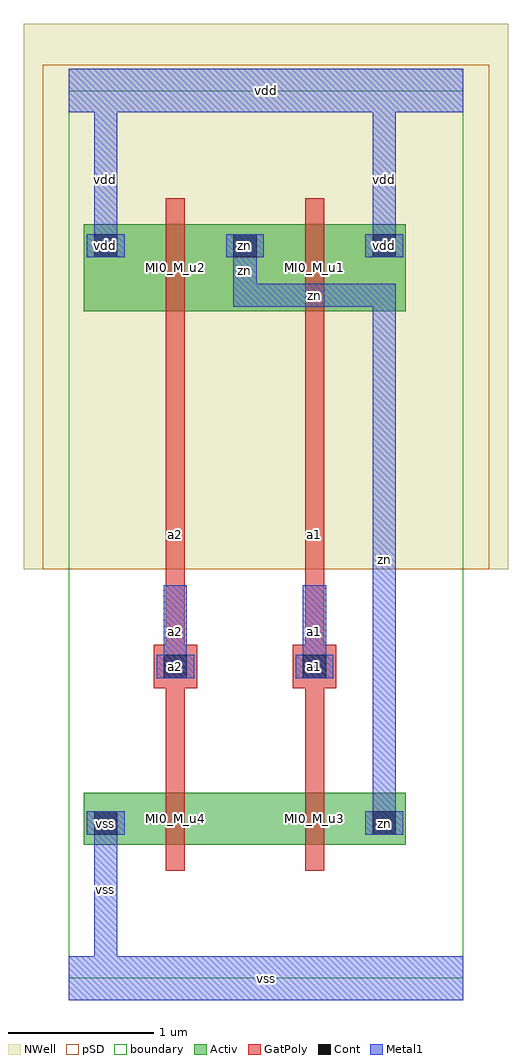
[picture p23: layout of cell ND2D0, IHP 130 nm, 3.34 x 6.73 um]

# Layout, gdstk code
import gdstk
lib = gdstk.Library(unit=1e-6, precision=1e-09)
def R(c, l, rs):  # rectangles x0, y0, x1, y1
    for r in rs: c.add(gdstk.rectangle(r[:2], r[2:], *l))
def A(c, l, x, y, w, h, nx, ny, dx, dy):  # array of equal rectangles
    R(c, l, [(x+i*dx, y+j*dy, x+i*dx+w, y+j*dy+h) for i in range(nx) for j in range(ny)])
Activ = (1, 0)
GatPoly = (5, 0)
Cont = (6, 0)
Metal1 = (8, 0)
pSD = (14, 0)
NWell = (31, 0)
TEXT = (63, 0)
boundary = (189, 4)

nd2d0 = lib.new_cell('ND2D0')
A(nd2d0, Activ, 0.105, 4.9, 0.3, 0.3, 3, 1, 0.96, 0)
R(nd2d0, Activ, [(0.105,0.92,1.365,1.28), (0.105,0.92,0.405,1.22), (1.065,0.92,2.325,1.28), (2.025,0.92,2.325,1.22), (0.105,4.6,1.365,5.2), (1.065,4.6,2.325,5.2)])
R(nd2d0, GatPoly, [(0.67,0.74,0.8,1.46), (1.63,0.74,1.76,1.46), (0.67,1.005,0.8,5.115), (1.63,1.005,1.76,5.115), (0.585,2,0.885,2.3), (1.545,2,1.845,2.3), (0.67,4.42,0.8,5.38), (1.63,4.42,1.76,5.38)])
A(nd2d0, Cont, 0.175, 4.97, 0.16, 0.16, 3, 1, 0.96, 0)
R(nd2d0, Cont, [(0.175,0.99,0.335,1.15), (2.095,0.99,2.255,1.15), (0.655,2.07,0.815,2.23), (1.615,2.07,1.775,2.23)])
A(nd2d0, Metal1, 0.125, 4.97, 0.26, 0.16, 3, 1, 0.96, 0)
R(nd2d0, Metal1, [(0,-0.15,2.72,0.15), (0.175,0.07,0.335,1.15), (0.125,0.99,0.385,1.15), (2.045,0.99,2.305,1.15), (2.095,0.99,2.255,4.79), (0.605,2.07,0.865,2.23), (0.655,2.07,0.815,2.71), (1.565,2.07,1.825,2.23), (1.615,2.07,1.775,2.71), (1.135,4.63,2.255,4.79), (1.135,4.63,1.295,5.13), (0.175,4.97,0.335,6.05), (2.095,4.97,2.255,6.05), (0,5.97,2.72,6.27)])
R(nd2d0, pSD, [(-0.18,2.82,2.9,5.94), (-0.18,5.94,2.9,6.3)])
R(nd2d0, NWell, [(-0.31,2.82,3.03,6.58)])
R(nd2d0, boundary, [(0,0,2.72,6.12)])
nd2d0.add(gdstk.FlexPath([(0.105,0.41),(2.325,0.41)], 0, ends="flush", simple_path=True, layer=63, datatype=0))  # TEXT
nd2d0.add(gdstk.FlexPath([(0.105,1.07),(2.325,1.07)], 0, ends="flush", simple_path=True, layer=63, datatype=0))  # TEXT
nd2d0.add(gdstk.FlexPath([(0.105,1.49),(2.325,1.49)], 0, ends="flush", simple_path=True, layer=63, datatype=0))  # TEXT
nd2d0.add(gdstk.FlexPath([(0.105,2.15),(2.325,2.15)], 0, ends="flush", simple_path=True, layer=63, datatype=0))  # TEXT
nd2d0.add(gdstk.FlexPath([(0.105,2.63),(2.325,2.63)], 0, ends="flush", simple_path=True, layer=63, datatype=0))  # TEXT
nd2d0.add(gdstk.FlexPath([(0.105,3.11),(2.325,3.11)], 0, ends="flush", simple_path=True, layer=63, datatype=0))  # TEXT
nd2d0.add(gdstk.FlexPath([(0.105,4.15),(2.325,4.15)], 0, ends="flush", simple_path=True, layer=63, datatype=0))  # TEXT
nd2d0.add(gdstk.FlexPath([(0.105,4.71),(2.325,4.71)], 0, ends="flush", simple_path=True, layer=63, datatype=0))  # TEXT
nd2d0.add(gdstk.FlexPath([(0.105,5.05),(2.325,5.05)], 0, ends="flush", simple_path=True, layer=63, datatype=0))  # TEXT
nd2d0.add(gdstk.FlexPath([(0.105,5.71),(2.325,5.71)], 0, ends="flush", simple_path=True, layer=63, datatype=0))  # TEXT
nd2d0.add(gdstk.FlexPath([(0.255,0.07),(0.255,6.05)], 0, ends="flush", simple_path=True, layer=63, datatype=0))  # TEXT
nd2d0.add(gdstk.FlexPath([(0.735,0.07),(0.735,6.05)], 0, ends="flush", simple_path=True, layer=63, datatype=0))  # TEXT
nd2d0.add(gdstk.FlexPath([(1.215,0.07),(1.215,6.05)], 0, ends="flush", simple_path=True, layer=63, datatype=0))  # TEXT
nd2d0.add(gdstk.FlexPath([(1.695,0.07),(1.695,6.05)], 0, ends="flush", simple_path=True, layer=63, datatype=0))  # TEXT
nd2d0.add(gdstk.FlexPath([(2.175,0.07),(2.175,6.05)], 0, ends="flush", simple_path=True, layer=63, datatype=0))  # TEXT
nd2d0.add(gdstk.Label('zn', (2.175,1.07), layer=6, texttype=0))
nd2d0.add(gdstk.Label('zn', (1.215,5.05), layer=6, texttype=0))
nd2d0.add(gdstk.Label('a1', (1.695,2.15), layer=6, texttype=0))
nd2d0.add(gdstk.Label('a2', (0.735,2.15), layer=6, texttype=0))
nd2d0.add(gdstk.Label('vss', (0.255,1.07), layer=6, texttype=0))
nd2d0.add(gdstk.Label('vdd', (0.255,5.05), layer=6, texttype=0))
nd2d0.add(gdstk.Label('vdd', (2.175,5.05), layer=6, texttype=0))
nd2d0.add(gdstk.Label('vss', (0.255,1.07), layer=8, texttype=0))
nd2d0.add(gdstk.Label('vss', (0.255,0.61), layer=8, texttype=0))
nd2d0.add(gdstk.Label('vdd', (0.255,5.05), layer=8, texttype=0))
nd2d0.add(gdstk.Label('vdd', (0.255,5.51), layer=8, texttype=0))
nd2d0.add(gdstk.Label('vdd', (2.175,5.05), layer=8, texttype=0))
nd2d0.add(gdstk.Label('vdd', (2.175,5.51), layer=8, texttype=0))
nd2d0.add(gdstk.Label('zn', (2.175,1.07), layer=8, texttype=2))
nd2d0.add(gdstk.Label('zn', (1.215,5.05), layer=8, texttype=2))
nd2d0.add(gdstk.Label('zn', (2.175,2.89), layer=8, texttype=2))
nd2d0.add(gdstk.Label('zn', (1.695,4.71), layer=8, texttype=2))
nd2d0.add(gdstk.Label('zn', (1.215,4.88), layer=8, texttype=2))
nd2d0.add(gdstk.Label('a1', (1.695,2.15), layer=8, texttype=2))
nd2d0.add(gdstk.Label('a1', (1.695,2.39), layer=8, texttype=2))
nd2d0.add(gdstk.Label('a2', (0.735,2.15), layer=8, texttype=2))
nd2d0.add(gdstk.Label('a2', (0.735,2.39), layer=8, texttype=2))
nd2d0.add(gdstk.Label('vss', (1.36,0), layer=8, texttype=2))
nd2d0.add(gdstk.Label('vdd', (1.36,6.12), layer=8, texttype=2))
nd2d0.add(gdstk.Label('zn', (2.175,1.07), layer=8, texttype=2))
nd2d0.add(gdstk.Label('zn', (1.215,5.05), layer=8, texttype=2))
nd2d0.add(gdstk.Label('zn', (2.175,2.89), layer=8, texttype=2))
nd2d0.add(gdstk.Label('zn', (1.695,4.71), layer=8, texttype=2))
nd2d0.add(gdstk.Label('zn', (1.215,4.88), layer=8, texttype=2))
nd2d0.add(gdstk.Label('a1', (1.695,2.15), layer=8, texttype=2))
nd2d0.add(gdstk.Label('a1', (1.695,2.39), layer=8, texttype=2))
nd2d0.add(gdstk.Label('a2', (0.735,2.15), layer=8, texttype=2))
nd2d0.add(gdstk.Label('a2', (0.735,2.39), layer=8, texttype=2))
nd2d0.add(gdstk.Label('vss', (1.36,0), layer=8, texttype=2))
nd2d0.add(gdstk.Label('vdd', (1.36,6.12), layer=8, texttype=2))
nd2d0.add(gdstk.Label('MI0_M_u3', (1.695,1.1), layer=1, texttype=0))
nd2d0.add(gdstk.Label('MI0_M_u4', (0.735,1.1), layer=1, texttype=0))
nd2d0.add(gdstk.Label('MI0_M_u2', (0.735,4.9), layer=1, texttype=0))
nd2d0.add(gdstk.Label('MI0_M_u1', (1.695,4.9), layer=1, texttype=0))
nd2d0.add(gdstk.Label('zn', (2.175,1.07), layer=1, texttype=0))
nd2d0.add(gdstk.Label('zn', (1.215,5.05), layer=1, texttype=0))
nd2d0.add(gdstk.Label('vss', (0.255,1.07), layer=1, texttype=0))
nd2d0.add(gdstk.Label('vdd', (0.255,5.05), layer=1, texttype=0))
nd2d0.add(gdstk.Label('vdd', (2.175,5.05), layer=1, texttype=0))
nd2d0.add(gdstk.Label('zn', (2.175,1.07), layer=8, texttype=25))
nd2d0.add(gdstk.Label('zn', (1.215,5.05), layer=8, texttype=25))
nd2d0.add(gdstk.Label('zn', (2.175,2.89), layer=8, texttype=25))
nd2d0.add(gdstk.Label('zn', (1.695,4.71), layer=8, texttype=25))
nd2d0.add(gdstk.Label('zn', (1.215,4.88), layer=8, texttype=25))
nd2d0.add(gdstk.Label('a1', (1.695,2.15), layer=8, texttype=25))
nd2d0.add(gdstk.Label('a1', (1.695,2.39), layer=8, texttype=25))
nd2d0.add(gdstk.Label('a2', (0.735,2.15), layer=8, texttype=25))
nd2d0.add(gdstk.Label('a2', (0.735,2.39), layer=8, texttype=25))
nd2d0.add(gdstk.Label('vss', (1.36,0), layer=8, texttype=25))
nd2d0.add(gdstk.Label('vdd', (1.36,6.12), layer=8, texttype=25))
nd2d0.add(gdstk.Label('a1', (1.695,3.06), layer=5, texttype=0))
nd2d0.add(gdstk.Label('a1', (1.695,2.15), layer=5, texttype=0))
nd2d0.add(gdstk.Label('a2', (0.735,3.06), layer=5, texttype=0))
nd2d0.add(gdstk.Label('a2', (0.735,2.15), layer=5, texttype=0))

lib.write_gds('ND2D0.gds')
